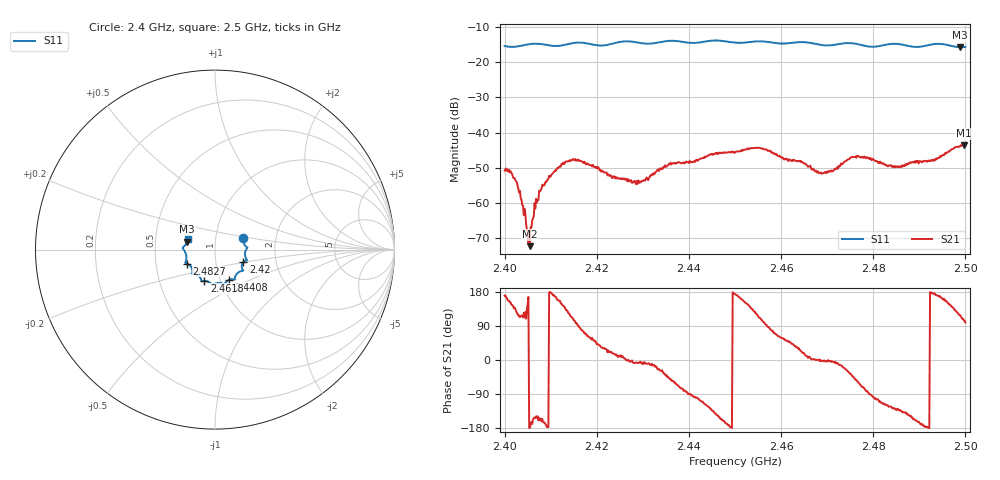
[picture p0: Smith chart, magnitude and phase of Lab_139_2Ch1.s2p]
# Hz S RI R 50
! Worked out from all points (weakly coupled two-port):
!   601 points, 2.4 GHz to 2.5 GHz, reference 50 ohm
!   highest |S21| = -43.56 dB at 2.4997 GHz (marker M1); lowest = -72.2 dB at 2.4055 GHz (marker M2)
!   lowest |S11| = -15.8 dB at 2.4988 GHz (marker M3), VSWR 1.39, Z = 36.4 + j3.34 ohm
!   |S11| at or under -10 dB: start of sweep to end of sweep
!   S12 and S22 are empty: the file has one direction only
!   S11 on the Smith chart (normalised r, x): 2.4 GHz: 1.36, +0.17; 2.42 GHz: 1.36, -0.19; 2.4408 GHz: 1.10, -0.38; 2.4618 GHz: 0.84, -0.30; 2.4827 GHz: 0.72, -0.12; 2.5 GHz: 0.73, +0.09
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2.4e9  0.1564 0.0622  -0.00284 0.00051  0 0  0 0
2.4025e9  0.1619 0.0316  -0.00126 0.00159  0 0  0 0
2.4055e9  0.1789 0.013  -0.000245 -6.25e-06  0 0  0 0
2.407e9  0.1811 0.0108  -0.000906 -0.000477  0 0  0 0
2.408667e9  0.1762 0.00464  -0.00178 -0.000426  0 0  0 0
2.412833e9  0.1691 -0.0395  -0.0028 0.00218  0 0  0 0
2.416667e9  0.178 -0.0594  0.000694 0.00388  0 0  0 0
2.42e9  0.1579 -0.0693  0.00245 0.00217  0 0  0 0
2.428333e9  0.1504 -0.1186  0.00196 -0.000258  0 0  0 0
2.433333e9  0.1119 -0.1522  0.00271 -0.00125  0 0  0 0
2.440833e9  0.0788 -0.1685  -0.000327 -0.00379  0 0  0 0
2.45e9  0.0278 -0.186  -0.00517 0.000575  0 0  0 0
2.455167e9  -0.0118 -0.1959  -0.00238 0.00559  0 0  0 0
2.461833e9  -0.06 -0.1751  0.00276 0.00312  0 0  0 0
2.466667e9  -0.0769 -0.1684  0.00298 9.38e-05  0 0  0 0
2.470833e9  -0.1033 -0.1383  0.00279 -0.000235  0 0  0 0
2.476333e9  -0.126 -0.1293  0.00266 -0.00349  0 0  0 0
2.482667e9  -0.1571 -0.0777  -0.00157 -0.00307  0 0  0 0
2.483333e9  -0.1613 -0.0762  -0.00189 -0.00285  0 0  0 0
2.498833e9  -0.1554 0.0446  -0.00307 0.00561  0 0  0 0
2.499667e9  -0.1523 0.057  -0.00166 0.00642  0 0  0 0
2.5e9  -0.1519 0.0618  -0.00101 0.00641  0 0  0 0
